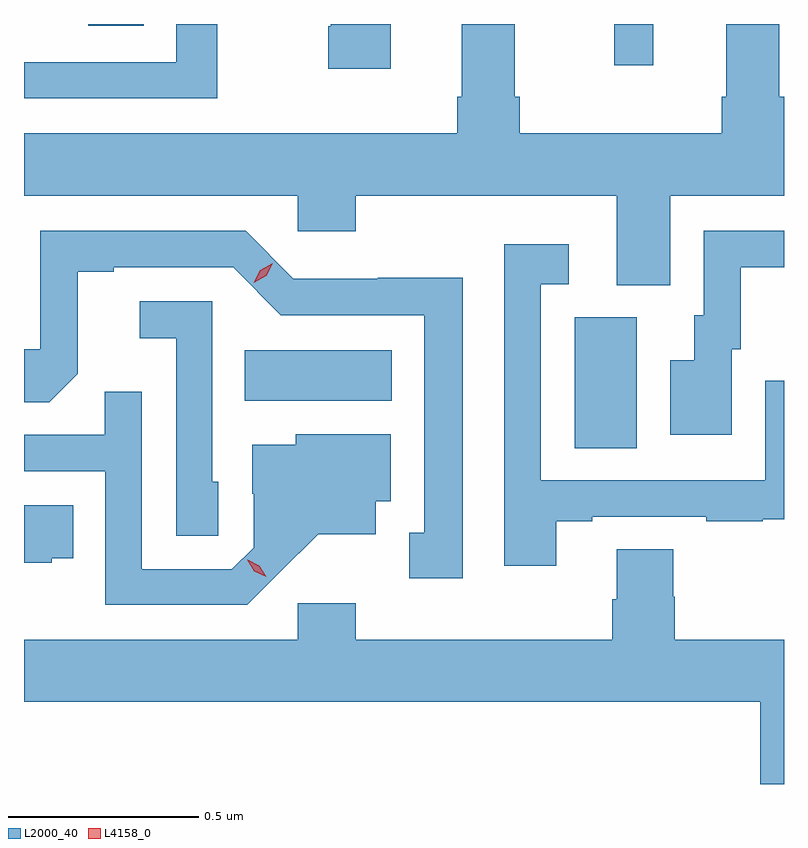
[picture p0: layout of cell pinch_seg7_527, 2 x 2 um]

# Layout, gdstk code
import gdstk
lib = gdstk.Library(unit=1e-6, precision=1e-09)
def R(c, l, rs):  # rectangles x0, y0, x1, y1
    for r in rs: c.add(gdstk.rectangle(r[:2], r[2:], *l))
def P(c, l, *ps):  # polygons
    for p in ps: c.add(gdstk.Polygon(p, *l))
L2000_40 = (2000, 40)
L4158_0 = (4158, 0)

pinch_seg7_527 = lib.new_cell('pinch_seg7_527')
R(pinch_seg7_527, L2000_40, [(127.802,1071.88,127.966,1072.224), (126.934,1072.004,127.321,1072.138), (127.906,1072.887,128.009,1072.996), (126.522,1072.992,126.668,1072.996)])
P(pinch_seg7_527, L2000_40, [(126.862,1072.996),(126.753,1072.996),(126.753,1072.896),(126.353,1072.896),(126.353,1072.8),(126.862,1072.8)],
  [(127.318,1072.996),(127.16,1072.996),(127.16,1072.99),(127.153,1072.99),(127.153,1072.878),(127.318,1072.878)],
  [(128.053,1072.544),(128.353,1072.544),(128.353,1072.804),(128.341,1072.804),(128.341,1072.996),(128.201,1072.996),(128.201,1072.804),(128.189,1072.804),(128.189,1072.708),(127.658,1072.708),(127.658,1072.804),(127.645,1072.804),(127.645,1072.996),(127.505,1072.996),(127.505,1072.804),(127.493,1072.804),(127.493,1072.708),(126.353,1072.708),(126.353,1072.544),(127.074,1072.544),(127.074,1072.451),(127.226,1072.451),(127.226,1072.544),(127.913,1072.544),(127.913,1072.309),(128.053,1072.309)],
  [(128.215,1072.14),(128.239,1072.14),(128.239,1072.356),(128.353,1072.356),(128.353,1072.452),(128.142,1072.452),(128.142,1072.23),(128.117,1072.23),(128.117,1072.111),(128.054,1072.111),(128.054,1071.915),(128.215,1071.915)],
  [(127.507,1072.328),(127.284,1072.328),(127.284,1072.326),(127.062,1072.326),(126.936,1072.452),(126.396,1072.452),(126.396,1072.14),(126.353,1072.14),(126.353,1072),(126.419,1072),(126.495,1072.076),(126.495,1072.344),(126.589,1072.344),(126.589,1072.356),(126.903,1072.356),(127.029,1072.23),(127.406,1072.23),(127.406,1071.657),(127.367,1071.657),(127.367,1071.537),(127.507,1071.537)],
  [(127.753,1071.687),(127.849,1071.687),(127.849,1071.699),(128.149,1071.699),(128.149,1071.687),(128.297,1071.687),(128.297,1071.693),(128.353,1071.693),(128.353,1072.057),(128.304,1072.057),(128.304,1071.795),(127.713,1071.795),(127.713,1072.311),(127.786,1072.311),(127.786,1072.417),(127.617,1072.417),(127.617,1071.57),(127.753,1071.57)],
  [(126.864,1071.792),(126.849,1071.792),(126.849,1072.266),(126.657,1072.266),(126.657,1072.169),(126.753,1072.169),(126.753,1071.649),(126.864,1071.649)],
  [(127.024,1071.551),(127.127,1071.653),(127.279,1071.653),(127.279,1071.74),(127.318,1071.74),(127.318,1071.916),(127.068,1071.916),(127.068,1071.889),(126.953,1071.889),(126.953,1071.76),(126.957,1071.76),(126.957,1071.618),(126.9,1071.561),(126.663,1071.561),(126.663,1072.028),(126.565,1072.028),(126.565,1071.915),(126.353,1071.915),(126.353,1071.819),(126.567,1071.819),(126.567,1071.468),(126.94,1071.468)],
  [(126.426,1071.59),(126.482,1071.59),(126.482,1071.73),(126.353,1071.73),(126.353,1071.578),(126.426,1071.578)],
  [(128.353,1071.376),(128.066,1071.376),(128.066,1071.489),(128.061,1071.489),(128.061,1071.614),(127.913,1071.614),(127.913,1071.482),(127.901,1071.482),(127.901,1071.376),(127.226,1071.376),(127.226,1071.472),(127.074,1071.472),(127.074,1071.376),(126.353,1071.376),(126.353,1071.212),(128.291,1071.212),(128.291,1070.996),(128.353,1070.996)])
P(pinch_seg7_527, L4158_0, [(126.958,1072.315),(126.958,1072.315),(126.975,1072.348),(127.007,1072.366),(127.007,1072.366),(127.007,1072.366),(126.99,1072.334),(126.958,1072.315)],
  [(126.99,1071.542),(126.959,1071.556),(126.941,1071.586),(126.941,1071.586),(126.942,1071.586),(126.972,1071.571),(126.99,1071.542),(126.99,1071.542)])

lib.write_gds('pinch_seg7_527.gds')
